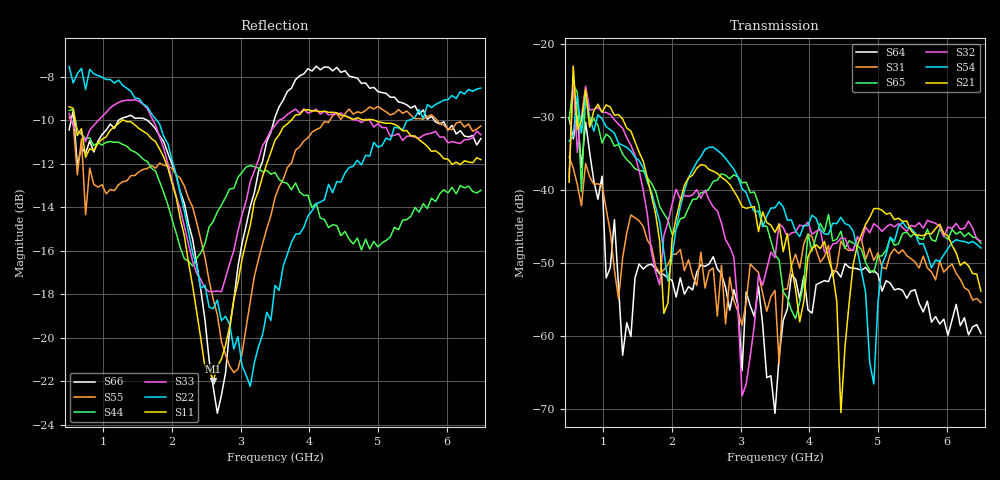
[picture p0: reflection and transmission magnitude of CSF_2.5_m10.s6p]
!Keysight Technologies,M9804A,MY58100912,A.14.10.03
!Date: Thursday, April 27, 2023 10:28:33
!Correction: S11(C  6-Port  )
!S12(C  6-Port  )
!S13(C  6-Port  )
!S14(C  6-Port  )
!S15(C  6-Port  )
!S16(C  6-Port  )
!S21(C  6-Port  )
!S22(C  6-Port  )
!S23(C  6-Port  )
!S24(C  6-Port  )
!S25(C  6-Port  )
!S26(C  6-Port  )
!S31(C  6-Port  )
!S32(C  6-Port  )
!S33(C  6-Port  )
!S34(C  6-Port  )
!S35(C  6-Port  )
!S36(C  6-Port  )
!S41(C  6-Port  )
!S42(C  6-Port  )
!S43(C  6-Port  )
!S44(C  6-Port  )
!S45(C  6-Port  )
!S46(C  6-Port  )
!S51(C  6-Port  )
!S52(C  6-Port  )
!S53(C  6-Port  )
!S54(C  6-Port  )
!S55(C  6-Port  )
!S56(C  6-Port  )
!S61(C  6-Port  )
!S62(C  6-Port  )
!S63(C  6-Port  )
!S64(C  6-Port  )
!S65(C  6-Port  )
!S66(C  6-Port  )
!S6P File: Measurement: :
# Hz S  RI  R 50
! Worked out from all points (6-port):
!   101 points, 500 MHz to 6.5 GHz, reference 50 ohm
!   strongest paths, dB at 500 MHz, 2 GHz, 3.5 GHz, 5 GHz, 6.5 GHz:
!     S21: -38.9, -46.7, -45.8, -42.5, -53.8
!     S54: -33.3, -49.1, -42.4, -55.5, -47.9
!     S32: -38.1, -42.0, -49.2, -45.0, -47.0
!     S65: -30.4, -46.1, -48.9, -49.0, -47.3
!     S31: -35.5, -48.8, -53.7, -48.6, -55.4
!     S64: -30.1, -52.4, -70.5, -51.5, -59.6
!   lowest |S11| = -22.0 dB at 2.6 GHz (marker M1), VSWR 1.17, Z = 42.9 + j2.02 ohm
!   |S11| at or under -10 dB: 586.1 MHz to 1.274 GHz (687.5 MHz wide, 73.9 % of centre); 1.293 GHz to 3.737 GHz (2.444 GHz wide, 97.2 % of centre); 4.949 GHz to end of sweep
